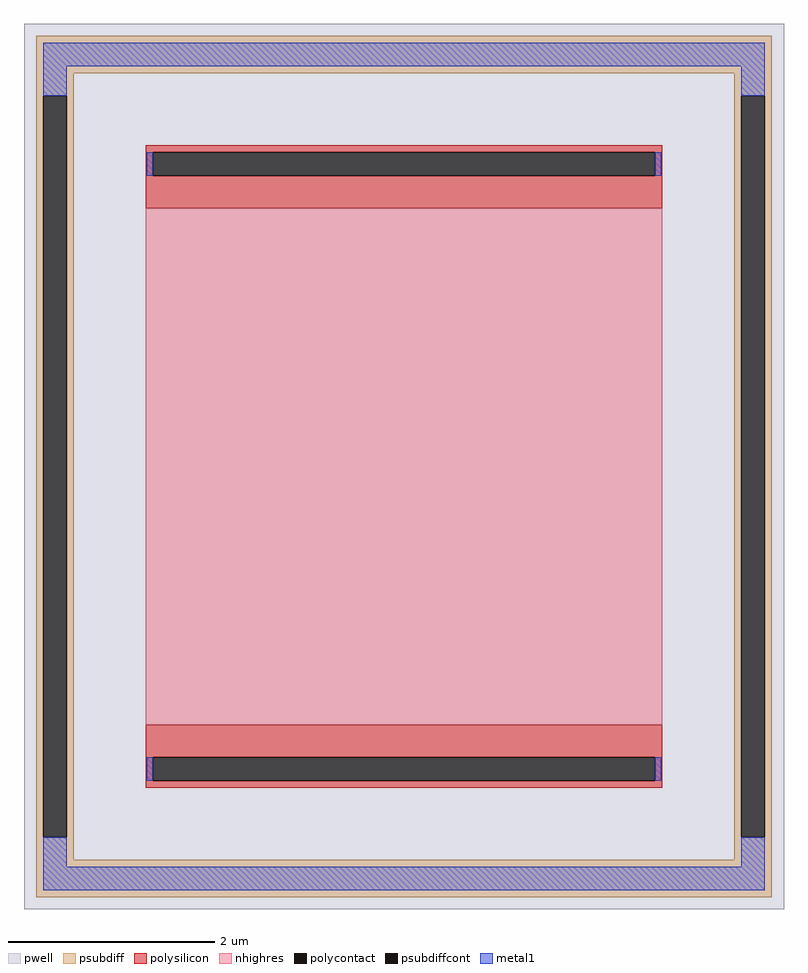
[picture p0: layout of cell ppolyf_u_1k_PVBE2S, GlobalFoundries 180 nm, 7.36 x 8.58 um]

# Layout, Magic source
magic
tech gf180mcuD
magscale 1 10
<< pwell >>
rect -736 -858 736 858
<< psubdiff >>
rect -712 762 712 834
rect -712 718 -640 762
rect -712 -718 -699 718
rect -653 -718 -640 718
rect 640 718 712 762
rect -712 -762 -640 -718
rect 640 -718 653 718
rect 699 -718 712 718
rect 640 -762 712 -718
rect -712 -834 712 -762
<< psubdiffcont >>
rect -699 -718 -653 718
rect 653 -718 699 718
<< polysilicon >>
rect -500 609 500 622
rect -500 563 -487 609
rect 487 563 500 609
rect -500 500 500 563
rect -500 -563 500 -500
rect -500 -609 -487 -563
rect 487 -609 500 -563
rect -500 -622 500 -609
<< polycontact >>
rect -487 563 487 609
rect -487 -609 487 -563
<< nhighres >>
rect -500 -500 500 500
<< metal1 >>
rect -699 775 699 821
rect -699 718 -653 775
rect 653 718 699 775
rect -498 563 -487 609
rect 487 563 498 609
rect -498 -609 -487 -563
rect 487 -609 498 -563
rect -699 -775 -653 -718
rect 653 -775 699 -718
rect -699 -821 699 -775
<< properties >>
string FIXED_BBOX -676 -798 676 798
string gencell ppolyf_u_1k
string library gf180mcu
string parameters w 5 l 5 m 1 nx 1 wmin 1.000 lmin 1.000 class resistor rho 1000 val 1.0k dummy 0 dw 0.0 term 0.0 sterm 0.0 caplen 0.4 snake 1 glc 1 grc 1 gtc 0 gbc 0 roverlap 1 endcov 100 full_metal 1 compatible {ppolyf_u_1k ppolyf_u_1k_6p0}
<< end >>
